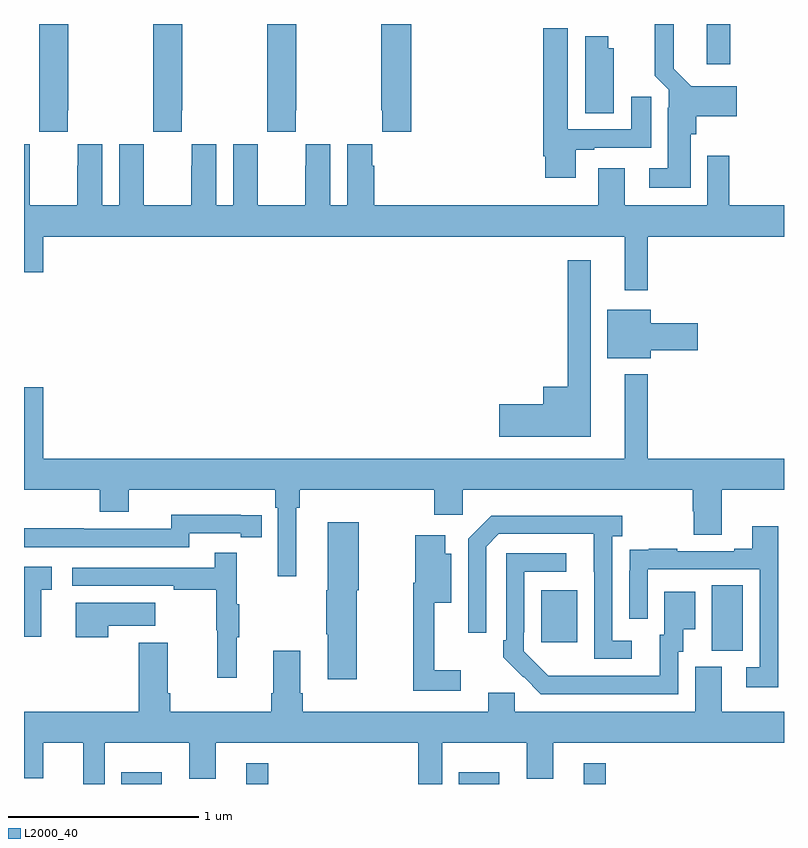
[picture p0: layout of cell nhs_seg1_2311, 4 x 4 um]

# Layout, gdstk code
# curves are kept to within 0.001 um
import gdstk
lib = gdstk.Library(unit=1e-6, precision=1e-09)
def R(c, l, rs):  # rectangles x0, y0, x1, y1
    for r in rs: c.add(gdstk.rectangle(r[:2], r[2:], *l))
def P(c, l, *ps):  # polygons
    for p in ps: c.add(gdstk.Polygon(p, *l))
L2000_40 = (2000, 40)

nhs_seg1_2311 = lib.new_cell('nhs_seg1_2311')
R(nhs_seg1_2311, L2000_40, [(237.512,534.199,237.724,534.262), (238.17,534.199,238.286,534.307), (239.288,534.199,239.5,534.262), (239.946,534.199,240.062,534.307), (240.62,534.901,240.784,535.244), (239.723,534.945,239.911,535.219), (240.593,537.987,240.716,538.199)])
P(nhs_seg1_2311, L2000_40, [(237.231,537.745),(237.234,537.745),(237.234,538.199),(237.079,538.199),(237.079,537.745),(237.081,537.745),(237.081,537.633),(237.231,537.633)],
  [(237.831,537.745),(237.834,537.745),(237.834,538.199),(237.679,538.199),(237.679,537.745),(237.681,537.745),(237.681,537.633),(237.831,537.633)],
  [(238.431,537.745),(238.434,537.745),(238.434,538.199),(238.279,538.199),(238.279,537.745),(238.281,537.745),(238.281,537.633),(238.431,537.633)],
  [(239.039,538.199),(238.879,538.199),(238.879,537.745),(238.885,537.745),(238.885,537.633),(239.039,537.633)],
  [(240.508,537.618),(240.539,537.618),(240.539,537.713),(240.751,537.713),(240.751,537.871),(240.513,537.871),(240.421,537.964),(240.421,538.199),(240.319,538.199),(240.319,537.926),(240.393,537.852),(240.393,537.758),(240.389,537.758),(240.389,537.439),(240.291,537.439),(240.291,537.338),(240.508,537.338)],
  [(239.905,537.537),(240.001,537.537),(240.001,537.549),(240.301,537.549),(240.301,537.817),(240.197,537.817),(240.197,537.645),(239.863,537.645),(239.863,538.177),(239.732,538.177),(239.732,537.502),(239.744,537.502),(239.744,537.39),(239.905,537.39)],
  [(240.103,538.071),(240.076,538.071),(240.076,538.135),(239.954,538.135),(239.954,537.73),(240.103,537.73)],
  [(240.283,537.08),(241,537.08),(241,537.244),(240.713,537.244),(240.713,537.505),(240.597,537.505),(240.597,537.244),(240.163,537.244),(240.163,537.439),(240.023,537.439),(240.023,537.244),(238.844,537.244),(238.844,537.452),(238.834,537.452),(238.834,537.565),(238.7,537.565),(238.7,537.244),(238.612,537.244),(238.612,537.565),(238.482,537.565),(238.482,537.452),(238.481,537.452),(238.481,537.244),(238.231,537.244),(238.231,537.452),(238.23,537.452),(238.23,537.565),(238.1,537.565),(238.1,537.244),(238.012,537.244),(238.012,537.565),(237.882,537.565),(237.882,537.452),(237.881,537.452),(237.881,537.244),(237.631,537.244),(237.631,537.452),(237.63,537.452),(237.63,537.565),(237.5,537.565),(237.5,537.244),(237.412,537.244),(237.412,537.565),(237.282,537.565),(237.282,537.452),(237.281,537.452),(237.281,537.244),(237.031,537.244),(237.031,537.452),(237.03,537.452),(237.03,537.565),(237,537.565),(237,536.892),(237.1,536.892),(237.1,537.08),(240.161,537.08),(240.161,536.799),(240.283,536.799)],
  [(239.983,536.956),(239.862,536.956),(239.862,536.29),(239.732,536.29),(239.732,536.198),(239.502,536.198),(239.502,536.027),(239.983,536.027)],
  [(240.298,536.483),(240.547,536.483),(240.547,536.625),(240.298,536.625),(240.298,536.695),(240.071,536.695),(240.071,536.441),(240.298,536.441)],
  [(238.432,535.652),(238.451,535.652),(238.451,535.748),(239.159,535.748),(239.159,535.617),(239.31,535.617),(239.31,535.748),(240.521,535.748),(240.521,535.635),(240.526,535.635),(240.526,535.51),(240.673,535.51),(240.673,535.748),(241,535.748),(241,535.912),(240.283,535.912),(240.283,536.356),(240.161,536.356),(240.161,535.912),(237.1,535.912),(237.1,536.287),(237,536.287),(237,535.748),(237.398,535.748),(237.398,535.631),(237.55,535.631),(237.55,535.748),(238.322,535.748),(238.322,535.652),(238.335,535.652),(238.335,535.293),(238.432,535.293)],
  [(237.87,535.518),(238.142,535.518),(238.142,535.498),(238.25,535.498),(238.25,535.614),(238.142,535.614),(238.142,535.615),(237.774,535.615),(237.774,535.542),(237.314,535.542),(237.314,535.544),(237,535.544),(237,535.446),(237.87,535.446)],
  [(240.199,534.954),(240.096,534.954),(240.096,535.502),(240.148,535.502),(240.148,535.612),(239.458,535.612),(239.337,535.491),(239.337,534.996),(239.433,534.996),(239.433,535.449),(239.499,535.515),(239.999,535.515),(240,534.858),(240.199,534.858)],
  [(238.752,535.218),(238.762,535.218),(238.762,535.576),(238.598,535.576),(238.598,535.218),(238.591,535.218),(238.591,534.988),(238.598,534.988),(238.598,534.75),(238.752,534.75)],
  [(240.969,535.555),(240.833,535.555),(240.833,535.438),(240.737,535.438),(240.737,535.425),(240.437,535.425),(240.437,535.438),(240.289,535.438),(240.289,535.431),(240.187,535.431),(240.187,535.322),(240.186,535.322),(240.186,535.068),(240.282,535.068),(240.282,535.329),(240.873,535.329),(240.873,534.813),(240.801,534.813),(240.801,534.708),(240.969,534.708)],
  [(239.299,534.799),(239.159,534.799),(239.159,535.154),(239.248,535.154),(239.248,535.411),(239.218,535.411),(239.218,535.507),(239.06,535.507),(239.06,535.258),(239.049,535.258),(239.049,534.69),(239.299,534.69)],
  [(238.121,534.971),(238.132,534.971),(238.132,535.145),(238.121,535.145),(238.121,535.417),(238.003,535.417),(238.003,535.338),(237.255,535.338),(237.255,535.242),(237.787,535.242),(237.787,535.222),(238.011,535.222),(238.011,535.008),(238.018,535.008),(238.018,534.759),(238.121,534.759)],
  [(240.444,534.894),(240.469,534.894),(240.469,535.013),(240.532,535.013),(240.532,535.21),(240.371,535.21),(240.371,534.984),(240.347,534.984),(240.347,534.768),(239.76,534.769),(239.631,534.897),(239.631,534.997),(239.634,534.997),(239.634,535.317),(239.854,535.317),(239.854,535.413),(239.538,535.413),(239.538,534.955),(239.523,534.955),(239.523,534.867),(239.72,534.672),(240.444,534.672)],
  [(237.092,535.221),(237.145,535.221),(237.145,535.342),(237,535.342),(237,534.975),(237.092,534.975)],
  [(237.443,535.031),(237.691,535.031),(237.691,535.153),(237.272,535.153),(237.272,534.972),(237.443,534.972)],
  [(239.583,534.678),(239.444,534.678),(239.444,534.58),(238.466,534.58),(238.466,534.676),(238.453,534.676),(238.453,534.901),(238.313,534.901),(238.313,534.676),(238.301,534.676),(238.301,534.58),(237.77,534.58),(237.77,534.676),(237.757,534.676),(237.757,534.943),(237.605,534.943),(237.605,534.58),(237,534.58),(237,534.228),(237.1,534.228),(237.1,534.416),(237.311,534.416),(237.311,534.199),(237.424,534.199),(237.424,534.416),(237.869,534.416),(237.869,534.227),(238.009,534.227),(238.009,534.416),(239.075,534.416),(239.075,534.199),(239.2,534.199),(239.2,534.416),(239.645,534.416),(239.645,534.227),(239.785,534.227),(239.785,534.416),(241,534.416),(241,534.58),(240.673,534.58),(240.673,534.816),(240.533,534.816),(240.533,534.58),(239.583,534.58)])

lib.write_gds('nhs_seg1_2311.gds')
